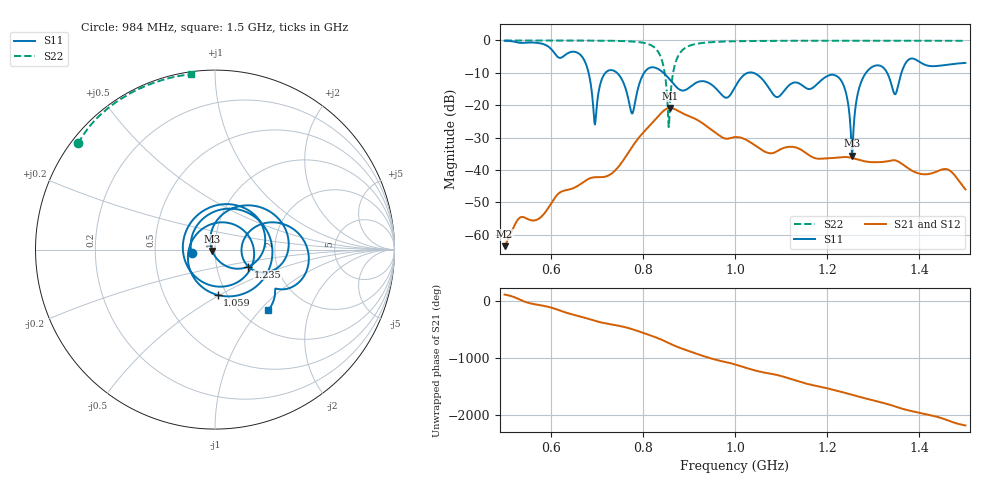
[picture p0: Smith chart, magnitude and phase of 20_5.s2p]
! TOUCHSTONE file generated by CST MICROWAVE STUDIO
! Date and time: Mon Nov 30 08:34:52 2020
! Project name: Scenario_1_Planar_Body_Tissue_Out_of_Line.cst
! Parameters = {dy1=-17.3; L_HA=400; Ltissue=700; MT=2.54; Rad_Dielectric=30; Rad_Lower=7.3; Rad_Upper=30; Wtissue=700; a_HA=580; a_WG=246; b_HA=500; b_WG=121; c_HA=0; c_WG=187; d_feed=85; dx1=866; h_feed=15; h_lower=18; h_upper=40; hfat=3; hgap=25; hmuscle=50; hskin=1.5}
! Header version: 2018
! Port assignment regex: !\s*Touchstone port\s*([0-9]+)\s*=\s*(CST MWS port|CST DS port)\s*([0-9]+|Zmin|Zmax)\s*\(\"(.*)\"\)(\s*mode\s*([0-9]+))?.*
! Touchstone port assignment:
! Touchstone port 1 = CST MWS port 1 ("")
! Touchstone port 2 = CST MWS port 2 ("")
# GHz S DB R 50
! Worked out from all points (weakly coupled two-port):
!   1003 points, 500 MHz to 1.5 GHz, reference 50 ohm
!   highest |S21| = -20.83 dB at 859 MHz (marker M1); lowest = -63.5 dB at 500 MHz (marker M2)
!   lowest |S11| = -35.5 dB at 1.254 GHz (marker M3), VSWR 1.03, Z = 48.5 - j0.682 ohm
!   |S11| at or under -10 dB: 743.9 MHz to 802.8 MHz (58.87 MHz wide, 7.61 % of centre); 844.7 MHz to 1.028 GHz (182.9 MHz wide, 19.5 % of centre); 1.04 GHz to 1.284 GHz (244.3 MHz wide, 21 % of centre) (the widest 3 of 5)
!   |S22| runs from -26.7 to 0.0 dB; largest |S21 - S12| = 3.3e-06
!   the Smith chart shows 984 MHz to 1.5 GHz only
!   S11 on the Smith chart (normalised r, x): 984 MHz: 0.77, -0.03; 1.059 GHz: 0.91, -0.49; 1.235 GHz: 1.42, -0.28; 1.5 GHz: 1.31, -1.11
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0.5  -0.10 -122.2  -63.49 107.2  -63.49 107.2  -0.01 151.1
0.583  -1.08 -168.2  -53.93 -88.2  -53.93 -88.2  -0.02 145.4
0.667  -4.82 121.6  -44.11 77.2  -44.11 77.2  -0.04 138.3
0.696  -25.93 -43.4  -42.21 7.4  -42.21 7.4  -0.06 135.3
0.723  -9.48 168.7  -41.82 -42.7  -41.82 -42.7  -0.10 131.8
0.777  -22.56 -37.0  -32.80 -139.3  -32.80 -139.3  -0.33 121.0
0.806  -9.38 161.0  -27.65 141.7  -27.65 141.7  -0.87 108.9
0.834  -8.86 70.4  -23.31 59.0  -23.31 59.0  -3.67 81.4
0.859  -12.14 -12.6  -20.83 -32.4  -20.83 -32.4  -19.44 -118.5
0.885  -15.45 -123.7  -22.40 -119.9  -22.40 -119.9  -3.12 179.9
0.942  -13.03 5.9  -26.85 83.4  -26.85 83.4  -0.60 150.4
0.984  -17.59 -170.6  -30.32 -1.7  -30.32 -1.7  -0.30 142.2
1  -14.39 106.3  -29.84 -36.3  -29.84 -36.3  -0.26 140.0
1.03  -9.91 0.4  -31.13 -111.2  -31.13 -111.2  -0.19 136.4
1.059  -11.93 -86.6  -33.87 -170.8  -33.87 -170.8  -0.15 133.4
1.126  -13.08 -12.7  -32.85 57.2  -32.85 57.2  -0.11 127.4
1.167  -14.77 165.6  -35.94 -35.5  -35.94 -35.5  -0.09 124.1
1.235  -13.64 -27.1  -35.98 -166.6  -35.98 -166.6  -0.08 118.9
1.254  -35.55 -155.1  -36.27 149.7  -36.27 149.7  -0.08 117.5
1.283  -10.25 53.4  -37.34 88.6  -37.34 88.6  -0.08 115.3
1.334  -11.21 -27.1  -37.18 -17.3  -37.18 -17.3  -0.08 111.4
1.5  -6.93 -48.7  -45.98 -24.4  -45.98 -24.4  -0.13 97.8
